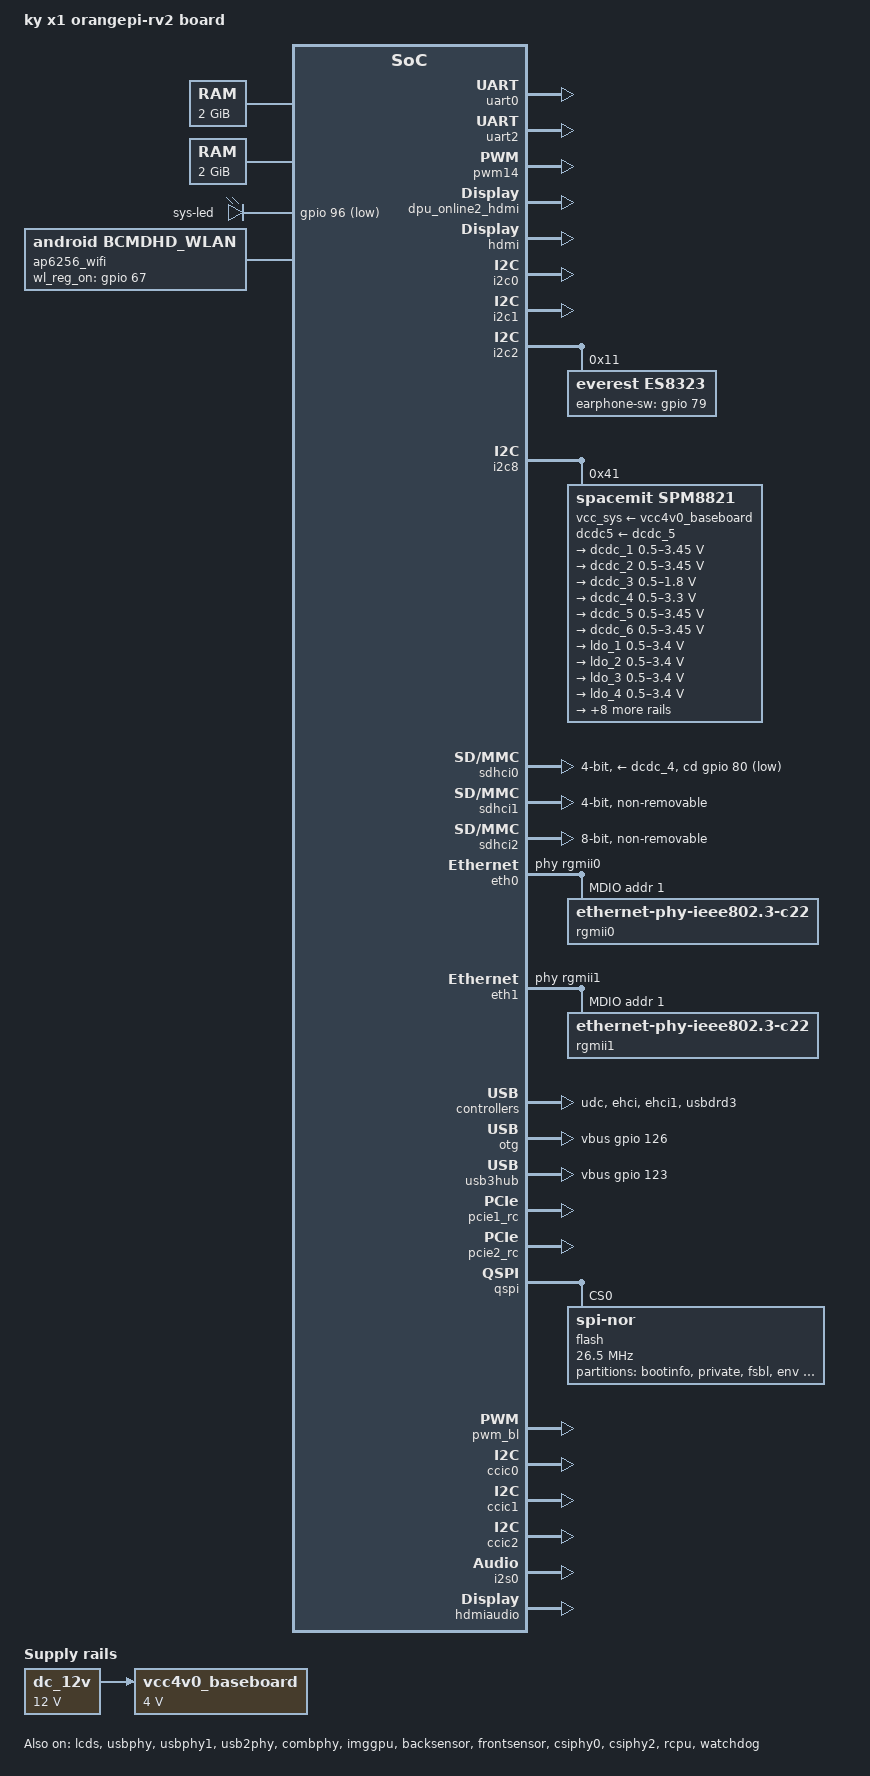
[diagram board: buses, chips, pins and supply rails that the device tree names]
// SPDX-License-Identifier: (GPL-2.0 OR MIT)
/* Copyright (c) 2023 Ky, Inc */

/dts-v1/;

#include "k1-x.dtsi"
#include "k1-x-efuse.dtsi"
#include "k1-x_pinctrl.dtsi"
#include "lcd/lcd_ili9881c_mipi.dtsi"
#include "k1-x-hdmi.dtsi"
#include "k1-x-lcd.dtsi"
#include "k1-x-camera-sdk.dtsi"
#include "k1-x_opp_table.dtsi"
#include "k1-x_thermal_cooling.dtsi"

/ {
	model = "ky x1 orangepi-rv2 board";
	compatible = "spacemit,orangepi-rv2", "spacemit,k1-x";

	cpus: cpus {
		#address-cells = <1>;
		#size-cells = <0>;
		timebase-frequency = <24000000>;

		cpu_0: cpu@0 {
			cpu-ai = "true";
		};

		cpu_1: cpu@1 {
			cpu-ai = "true";
		};

		cpu_2: cpu@2 {
			reg = <2>;
			cpu-ai = "true";
		};

		cpu_3: cpu@3 {
			reg = <3>;
			cpu-ai = "true";
		};

		cpu-map {
			cluster0 {
				core0 {
					cpu = <&cpu_0>;
				};

				core1 {
					cpu = <&cpu_1>;
				};

				core2 {
					cpu = <&cpu_2>;
				};

				core3 {
					cpu = <&cpu_3>;
				};
			};

			cluster1 {
				core0 {
					cpu = <&cpu_4>;
				};

				core1 {
					cpu = <&cpu_5>;
				};

				core2 {
					cpu = <&cpu_6>;
				};

				core3 {
					cpu = <&cpu_7>;
				};
			};
		};
	};

	memory@0 {
		device_type = "memory";
		reg = <0x0 0x00000000 0x0 0x80000000>;
	};

	memory@100000000 {
		device_type = "memory";
		reg = <0x1 0x00000000 0x0 0x80000000>;
	};

	reserved-memory {
		#address-cells = <2>;
		#size-cells = <2>;
		ranges;

		linux,cma {
			compatible = "shared-dma-pool";
			/* alloc memory from 0x40000000~0x80000000 */
			alloc-ranges = <0 0x40000000 0 0x30000000>;
			/* size of cma buffer is 384MByte */
			size = <0 0x18000000>;
			/* start address is 1Mbyte aligned */
			alignment = <0x0 0x100000>;
			linux,cma-default;
			/* besides hardware, dma for ex. buffer can be used by memory management */
			reusable;
		};

		/* reserved 384K for dpu, including mmu table(256K) and cmdlist(128K) */
		dpu_resv: dpu_reserved@2ff40000 {
			compatible = "shared-dma-pool";
			reg = <0x0 0x2ff40000 0x0 0x000C0000>;
			no-map;
		};
	};

	chosen {
		bootargs = "earlycon=sbi console=ttyS0,115200n8 loglevel=8 swiotlb=65536 rdinit=/init";
		stdout-path = "serial0:115200n8";
	};

	dc_12v: dc-12v {
		compatible = "regulator-fixed";
		regulator-name = "dc_12v";
		regulator-always-on;
		regulator-boot-on;
		regulator-min-microvolt = <12000000>;
		regulator-max-microvolt = <12000000>;
	};

	vcc4v0_baseboard: vcc4v0-baseboard {
		compatible = "regulator-fixed";
		regulator-name = "vcc4v0_baseboard";
		regulator-always-on;
		regulator-boot-on;
		regulator-min-microvolt = <4000000>;
		regulator-max-microvolt = <4000000>;
		vin-supply = <&dc_12v>;
	};

	rf_pwrseq: rf-pwrseq {
		compatible = "spacemit,rf-pwrseq";
		//vdd-supply = <&ldo_7>;
		//vdd_voltage = <3300000>;
		io-supply = <&dcdc_3>;
		io_voltage = <1800000>;
		//pwr-gpios  = <&gpio 67 0>;
		status = "okay";

		wlan_pwrseq: wlan-pwrseq {
			compatible = "spacemit,wlan-pwrseq";
			interrupt-parent = <&gpio>;
			interrupts = <66 1>;
			regon-gpios = <&gpio 67 GPIO_ACTIVE_HIGH>;
			hostwake-gpios = <&gpio 66 GPIO_ACTIVE_HIGH>;
		};

		bt_pwrseq: bt-pwrseq {
			compatible = "spacemit,bt-pwrseq";
			reset-gpios     = <&gpio 63 0>;
		};
	};

	leds {
		compatible = "gpio-leds";

		led1 {
			label = "sys-led";
			gpios = <&gpio 96 1>;
			linux,default-trigger = "heartbeat";
			default-state = "on";
			status = "okay";
		};
	};

	/* vcc3v3_pcie: vcc3v3-pcie-regulator { */
	/* 	compatible = "regulator-fixed"; */
	/* 	regulator-name = "vcc3v3_pcie"; */
	/* 	regulator-always-on; */
	/* 	regulator-boot-on; */
	/* 	enable-active-high; */
	/* 	gpio = <&gpio 116 0>; */
	/* 	regulator-min-microvolt = <3300000>; */
	/* 	regulator-max-microvolt = <3300000>; */
	/* 	vin-supply = <&dc_12v>; */
        /* }; */

	ap6256_wifi: ap6256_wifi {
		compatible = "android,bcmdhd_wlan";
		gpio_wl_reg_on = <&gpio 67 GPIO_ACTIVE_HIGH>;
	};
};

&uart0 {
	pinctrl-names = "default";
	pinctrl-0 = <&pinctrl_uart0_2>;
	status = "okay";
};

&uart2 {
	pinctrl-names = "default";
	pinctrl-0 = <&pinctrl_uart2>;
	status = "okay";
};

&pwm14 {
	pinctrl-names = "default";
	pinctrl-0 = <&pinctrl_pwm14_1>;
	status = "okay";
};

&dpu_online2_dsi {
	memory-region = <&dpu_resv>;
	spacemit-dpu-bitclk = <500000000>;
	/* spacemit-dpu-escclk = <76800000>; */
	dsi_1v2-supply = <&ldo_5>;
	vin-supply-names = "dsi_1v2";
	status = "disabled";
};

&dsi2 {
	status = "disabled";

	panel2: panel2@0 {
		status = "okay";
		compatible = "spacemit,mipi-panel2";
		reg = <0>;

		gpios-reset = <81>;
		gpios-dc = <82 83>;
		id = <2>;
		delay-after-reset = <10>;
		force-attached = "lcd_ili9881c_mipi";
	};
};

&lcds {
	status = "okay";
};

&dpu_online2_hdmi {
	memory-region = <&dpu_resv>;
	status = "okay";
};

&hdmi{
	pinctrl-names = "default";
	pinctrl-0 = <&pinctrl_hdmi_0>;
	status = "okay";
};

&i2c0 {
	pinctrl-names = "default";
	pinctrl-0 = <&pinctrl_i2c0>;
	spacemit,i2c-fast-mode;
	status = "okay";
};

&i2c1 {
	pinctrl-names = "default";
	pinctrl-0 = <&pinctrl_i2c1>;
	spacemit,i2c-fast-mode;
	status = "okay";
};

&i2c2 {
	pinctrl-names = "default";
	pinctrl-0 = <&pinctrl_i2c2_0>;
	spacemit,i2c-fast-mode;
	status = "okay";

	eeprom@50{
		compatible = "atmel,24c02";
		reg = <0x50>;
		#address-cells = <1>;
		#size-cells = <1>;

		power-domains = <&power K1X_PMU_DUMMY_PWR_DOMAIN>;
		status = "disabled";

		mac_address0: mac_address0@0 {
			reg = <0x0 6>;
		};

		mac_address1: mac_address1@6 {
			reg = <0x6 6>;
		};
	};

	es8323: es8323@11 {
		status = "okay";
		#sound-dai-cells = <0>;
		compatible = "everest,es8323";
		reg = <0x11>;
		earphone-sw-gpio = <&gpio 79 0>;
        };

	touchscreen: touchscreen@14 {
		compatible = "goodix,gt9271";
		reg = <0x14>;
		interrupt-parent = <&gpio>;
		interrupts = <46 1>; /* PE12 */
		irq-gpios = <&gpio 46 GPIO_ACTIVE_HIGH>; /* PE12 */
		reset-gpios = <&gpio 45 GPIO_ACTIVE_HIGH>; /* PE11 */
		pinctrl-names = "default";
		pinctrl-0 = <&pinctrl_touch_gpio>;
		touchscreen-inverted-x;
		//touchscreen-inverted-y;
		touchscreen-swapped-x-y;
		touchscreen-size-x = <1280>;
		touchscreen-size-y = <800>;
		status = "disabled";
	};
};

&i2c3 {
	pinctrl-names = "default";
	pinctrl-0 = <&pinctrl_i2c3_1>;
	status = "disabled";
};

&i2c4 {
	pinctrl-names = "default";
	pinctrl-0 = <&pinctrl_i2c4_2>;
	status = "disabled";
};

&i2c6 {
	pinctrl-names = "default";
	pinctrl-0 = <&pinctrl_i2c6_2>;
	status = "disabled";

	gt9xx@5d {
		compatible = "goodix,gt9xx";
		reg = <0x5d>;

		reset-gpios = <&gpio 114 GPIO_ACTIVE_HIGH>;
		irq-gpios = <&gpio 58 GPIO_ACTIVE_HIGH>;
		irq-flags = <2>;

		touchscreen-max-id = <11>;
		touchscreen-size-x = <1200>;
		touchscreen-size-y = <1920>;
		touchscreen-max-w = <512>;
		touchscreen-max-p = <512>;

		goodix,int-sync = <1>;
		status = "disabled";
	};

};

&i2c7 {
	pinctrl-names = "default";
	pinctrl-0 = <&pinctrl_i2c7>;
	status = "disabled";
};

&i2c8 {
	pinctrl-names = "default";
	pinctrl-0 = <&pinctrl_i2c8>;
	status = "okay";

	spm8821@41 {
		compatible = "spacemit,spm8821";
		reg = <0x41>;
		interrupt-parent = <&intc>;
		interrupts = <64>;
		status = "okay";

		vcc_sys-supply = <&vcc4v0_baseboard>;
		dcdc5-supply = <&dcdc_5>;

		regulators {
			compatible = "pmic,regulator,spm8821";

			/* buck */
			dcdc_1: DCDC_REG1 {
				regulator-name = "dcdc1";
				regulator-min-microvolt = <500000>;
				regulator-max-microvolt = <3450000>;
				regulator-ramp-delay = <5000>;
				regulator-always-on;

				regulator-state-mem {
					regulator-off-in-suspend;
					regulator-suspend-microvolt = <650000>;
				};
			};

			dcdc_2: DCDC_REG2 {
				regulator-name = "dcdc2";
				regulator-min-microvolt = <500000>;
				regulator-max-microvolt = <3450000>;
				regulator-ramp-delay = <5000>;
				regulator-always-on;
			};

			dcdc_3: DCDC_REG3 {
				regulator-name = "dcdc3";
				regulator-min-microvolt = <500000>;
				regulator-max-microvolt = <1800000>;
				regulator-ramp-delay = <5000>;
				regulator-always-on;
			};

			dcdc_4: DCDC_REG4 {
				regulator-name = "dcdc4";
				regulator-min-microvolt = <500000>;
				regulator-max-microvolt = <3300000>;
				regulator-ramp-delay = <5000>;
				regulator-always-on;

				regulator-state-mem {
					regulator-off-in-suspend;
					regulator-suspend-microvolt = <3300000>;
				};
			};

			dcdc_5: DCDC_REG5 {
				regulator-name = "dcdc5";
				regulator-min-microvolt = <500000>;
				regulator-max-microvolt = <3450000>;
				regulator-ramp-delay = <5000>;
				regulator-always-on;
			};

			dcdc_6: DCDC_REG6 {
				regulator-name = "dcdc6";
				regulator-min-microvolt = <500000>;
				regulator-max-microvolt = <3450000>;
				regulator-ramp-delay = <5000>;
				regulator-always-on;
			};

			/* aldo */
			ldo_1: LDO_REG1 {
				regulator-name = "ldo1";
				regulator-min-microvolt = <500000>;
				regulator-max-microvolt = <3400000>;
				regulator-boot-on;

				/* set the min voltage means will disable this vol in suspend for ldo */
				regulator-state-mem {
					regulator-off-in-suspend;
					regulator-suspend-microvolt = <500000>;
				};
			};

			ldo_2: LDO_REG2 {
				regulator-name = "ldo2";
				regulator-min-microvolt = <500000>;
				regulator-max-microvolt = <3400000>;

				regulator-state-mem {
					regulator-off-in-suspend;
					regulator-suspend-microvolt = <500000>;
				};
			};

			ldo_3: LDO_REG3 {
				regulator-name = "ldo3";
				regulator-min-microvolt = <500000>;
				regulator-max-microvolt = <3400000>;

				regulator-state-mem {
					regulator-off-in-suspend;
					regulator-suspend-microvolt = <500000>;
				};
			};

			ldo_4: LDO_REG4 {
				regulator-name = "ldo4";
				regulator-min-microvolt = <500000>;
				regulator-max-microvolt = <3400000>;

				regulator-state-mem {
					regulator-off-in-suspend;
					regulator-suspend-microvolt = <500000>;
				};
			};

			/* dldo */
			ldo_5: LDO_REG5 {
				regulator-name = "ldo5";
				regulator-min-microvolt = <500000>;
				regulator-max-microvolt = <3400000>;
				regulator-boot-on;

				regulator-state-mem {
					regulator-off-in-suspend;
					regulator-suspend-microvolt = <500000>;
				};
			};

			ldo_6: LDO_REG6 {
				regulator-name = "ldo6";
				regulator-min-microvolt = <500000>;
				regulator-max-microvolt = <3400000>;

				regulator-state-mem {
					regulator-off-in-suspend;
					regulator-suspend-microvolt = <500000>;
				};
			};

			ldo_7: LDO_REG7 {
				regulator-name = "ldo7";
				regulator-min-microvolt = <500000>;
				regulator-max-microvolt = <3400000>;

				regulator-state-mem {
					regulator-off-in-suspend;
					regulator-suspend-microvolt = <500000>;
				};
			};

			ldo_8: LDO_REG8 {
				regulator-name = "ldo8";
				regulator-min-microvolt = <500000>;
				regulator-max-microvolt = <3400000>;
				regulator-always-on;
			};

			ldo_9: LDO_REG9 {
				regulator-name = "ldo9";
				regulator-min-microvolt = <500000>;
				regulator-max-microvolt = <3400000>;
			};

			ldo_10: LDO_REG10 {
				regulator-name = "ldo10";
				regulator-min-microvolt = <500000>;
				regulator-max-microvolt = <3400000>;
				regulator-always-on;
			};

			ldo_11: LDO_REG11 {
				regulator-name = "ldo11";
				regulator-min-microvolt = <500000>;
				regulator-max-microvolt = <3400000>;
			};

			sw_1: SWITCH_REG1 {
				regulator-boot-on;
				regulator-always-on;
				regulator-name = "switch1";
				regulator-state-mem {
					regulator-off-in-suspend;
				};
			};
		};

		pmic_pinctrl: pinctrl {
			compatible = "pmic,pinctrl,spm8821";
			gpio-controller;
			#gpio-cells = <2>;
			spacemit,npins = <6>;
/**
 *			led_pins: led-pins {
 *				pins = "PIN3";
 *				function = "sleep";
 *				bias-disable = <0>;
 *				drive-open-drain = <0x1>;
 *			};
 */
		};

		pwr_key: key {
			compatible = "pmic,pwrkey,spm8821";
		};

		ext_rtc: rtc {
			compatible = "pmic,rtc,spm8821";
		};

		ext_adc: adc {
			compatible = "pmic,adc,spm8821";
		};
	};
};

&pinctrl {
	pinctrl-single,gpio-range = <
		&range GPIO_49  2 (MUX_MODE0 | EDGE_NONE | PULL_UP   | PAD_3V_DS4)
		&range GPIO_58  1 (MUX_MODE0 | EDGE_NONE | PULL_UP   | PAD_1V8_DS2)
		&range GPIO_63  1 (MUX_MODE0 | EDGE_NONE | PULL_UP   | PAD_1V8_DS2)
		&range GPIO_64  1 (MUX_MODE1 | EDGE_NONE | PULL_UP   | PAD_1V8_DS2)
		&range GPIO_65  1 (MUX_MODE0 | EDGE_NONE | PULL_UP   | PAD_1V8_DS2)
		&range GPIO_67  1 (MUX_MODE0 | EDGE_NONE | PULL_UP   | PAD_3V_DS4)
		&range PRI_TDI  2 (MUX_MODE1 | EDGE_NONE | PULL_UP   | PAD_1V8_DS2)
		&range PRI_TCK  1 (MUX_MODE1 | EDGE_NONE | PULL_DOWN | PAD_1V8_DS2)
		&range PRI_TDO  1 (MUX_MODE1 | EDGE_NONE | PULL_UP   | PAD_1V8_DS2)
		/*&range GPIO_74  1 (MUX_MODE0 | EDGE_NONE | PULL_UP   | PAD_1V8_DS2) */
		&range GPIO_79  1 (MUX_MODE0 | EDGE_NONE | PULL_UP   | PAD_1V8_DS2)
		&range GPIO_80  1 (MUX_MODE0 | EDGE_NONE | PULL_UP   | PAD_3V_DS4)
		&range GPIO_81  3 (MUX_MODE0 | EDGE_NONE | PULL_UP   | PAD_1V8_DS2)
		&range GPIO_90  1 (MUX_MODE0 | EDGE_NONE | PULL_DOWN | PAD_1V8_DS2)
		&range GPIO_91  2 (MUX_MODE0 | EDGE_NONE | PULL_UP   | PAD_1V8_DS2)
		&range DVL0     1 (MUX_MODE1 | EDGE_NONE | PULL_DOWN | PAD_1V8_DS2)
		&range DVL1     1 (MUX_MODE1 | EDGE_NONE | PULL_DOWN | PAD_1V8_DS0)
		&range GPIO_110 1 (MUX_MODE0 | EDGE_NONE | PULL_DOWN | PAD_1V8_DS2)
		&range GPIO_111 1 (MUX_MODE0 | EDGE_NONE | PULL_DOWN | PAD_1V8_DS2)
		&range GPIO_113 1 (MUX_MODE0 | EDGE_NONE | PULL_DOWN | PAD_1V8_DS2)
		&range GPIO_114 1 (MUX_MODE0 | EDGE_NONE | PULL_DOWN | PAD_1V8_DS2)
		&range GPIO_115 1 (MUX_MODE0 | EDGE_NONE | PULL_DOWN | PAD_1V8_DS2)
		&range GPIO_116 1 (MUX_MODE0 | EDGE_NONE | PULL_UP   | PAD_1V8_DS2)
		&range GPIO_118 1 (MUX_MODE0 | EDGE_NONE | PULL_UP   | PAD_1V8_DS2)
		&range GPIO_123 1 (MUX_MODE0 | EDGE_NONE | PULL_DOWN | PAD_1V8_DS0)
		&range GPIO_124 1 (MUX_MODE0 | EDGE_NONE | PULL_UP   | PAD_1V8_DS2)
		&range GPIO_125 3 (MUX_MODE0 | EDGE_NONE | PULL_DOWN | PAD_1V8_DS2)
	>;

	/* pinctrl_rcpu: pinctrl_rcpu_grp { */
	/* 	pinctrl-single,pins = < */
	/* 		K1X_PADCONF(GPIO_47, MUX_MODE1, (EDGE_NONE | PULL_UP | PAD_3V_DS4))	/1* r_uart0_tx *1/ */
	/* 		K1X_PADCONF(GPIO_48, MUX_MODE1, (EDGE_NONE | PULL_UP | PAD_3V_DS4))	/1* r_uart0_rx *1/ */
	/* 	>; */
	/* }; */

	pinctrl_gmac0: gmac0_grp {
		pinctrl-single,pins =<
			K1X_PADCONF(GPIO_00, MUX_MODE1, (EDGE_NONE | PULL_DIS | PAD_1V8_DS2))	/* gmac0_rxdv */
			K1X_PADCONF(GPIO_01, MUX_MODE1, (EDGE_NONE | PULL_DIS | PAD_1V8_DS2))	/* gmac0_rx_d0 */
			K1X_PADCONF(GPIO_02, MUX_MODE1, (EDGE_NONE | PULL_DIS | PAD_1V8_DS2))	/* gmac0_rx_d1 */
			K1X_PADCONF(GPIO_03, MUX_MODE1, (EDGE_NONE | PULL_DIS | PAD_1V8_DS2))	/* gmac0_rx_clk */
			K1X_PADCONF(GPIO_04, MUX_MODE1, (EDGE_NONE | PULL_DIS | PAD_1V8_DS2))	/* gmac0_rx_d2 */
			K1X_PADCONF(GPIO_05, MUX_MODE1, (EDGE_NONE | PULL_DIS | PAD_1V8_DS2))	/* gmac0_rx_d3 */
			K1X_PADCONF(GPIO_06, MUX_MODE1, (EDGE_NONE | PULL_DIS | PAD_1V8_DS2))	/* gmac0_tx_d0 */
			K1X_PADCONF(GPIO_07, MUX_MODE1, (EDGE_NONE | PULL_DIS | PAD_1V8_DS2))	/* gmac0_tx_d1 */
			K1X_PADCONF(GPIO_08, MUX_MODE1, (EDGE_NONE | PULL_DIS | PAD_1V8_DS2))	/* gmac0_tx */
			K1X_PADCONF(GPIO_09, MUX_MODE1, (EDGE_NONE | PULL_DIS | PAD_1V8_DS2))	/* gmac0_tx_d2 */
			K1X_PADCONF(GPIO_10, MUX_MODE1, (EDGE_NONE | PULL_DIS | PAD_1V8_DS2))	/* gmac0_tx_d3 */
			K1X_PADCONF(GPIO_11, MUX_MODE1, (EDGE_NONE | PULL_DIS | PAD_1V8_DS2))	/* gmac0_tx_en */
			K1X_PADCONF(GPIO_12, MUX_MODE1, (EDGE_NONE | PULL_DIS | PAD_1V8_DS0))	/* gmac0_mdc */
			K1X_PADCONF(GPIO_13, MUX_MODE1, (EDGE_NONE | PULL_DIS | PAD_1V8_DS0))	/* gmac0_mdio */
			K1X_PADCONF(GPIO_14, MUX_MODE1, (EDGE_NONE | PULL_DIS | PAD_1V8_DS2))	/* gmac0_int_n */
		>;
	};

	pinctrl_gmac1: gmac1_grp {
		pinctrl-single,pins =<
			K1X_PADCONF(GPIO_29, MUX_MODE1, (EDGE_NONE | PULL_DIS | PAD_1V8_DS2))	/* gmac1_rxdv */
			K1X_PADCONF(GPIO_30, MUX_MODE1, (EDGE_NONE | PULL_DIS | PAD_1V8_DS2))	/* gmac1_rx_d0 */
			K1X_PADCONF(GPIO_31, MUX_MODE1, (EDGE_NONE | PULL_DIS | PAD_1V8_DS2))	/* gmac1_rx_d1 */
			K1X_PADCONF(GPIO_32, MUX_MODE1, (EDGE_NONE | PULL_DIS | PAD_1V8_DS2))	/* gmac1_rx_clk */
			K1X_PADCONF(GPIO_33, MUX_MODE1, (EDGE_NONE | PULL_DIS | PAD_1V8_DS2))	/* gmac1_rx_d2 */
			K1X_PADCONF(GPIO_34, MUX_MODE1, (EDGE_NONE | PULL_DIS | PAD_1V8_DS2))	/* gmac1_rx_d3 */
			K1X_PADCONF(GPIO_35, MUX_MODE1, (EDGE_NONE | PULL_DIS | PAD_1V8_DS0))	/* gmac1_tx_d0 */
			K1X_PADCONF(GPIO_36, MUX_MODE1, (EDGE_NONE | PULL_DIS | PAD_1V8_DS0))	/* gmac1_tx_d1 */
			K1X_PADCONF(GPIO_37, MUX_MODE1, (EDGE_NONE | PULL_DIS | PAD_1V8_DS2))	/* gmac1_tx */
			K1X_PADCONF(GPIO_38, MUX_MODE1, (EDGE_NONE | PULL_DIS | PAD_1V8_DS0))	/* gmac1_tx_d2 */
			K1X_PADCONF(GPIO_39, MUX_MODE1, (EDGE_NONE | PULL_DIS | PAD_1V8_DS0))	/* gmac1_tx_d3 */
			K1X_PADCONF(GPIO_40, MUX_MODE1, (EDGE_NONE | PULL_DIS | PAD_1V8_DS0))	/* gmac1_tx_en */
			K1X_PADCONF(GPIO_41, MUX_MODE1, (EDGE_NONE | PULL_DIS | PAD_1V8_DS0))	/* gmac1_mdc */
			K1X_PADCONF(GPIO_42, MUX_MODE1, (EDGE_NONE | PULL_DIS | PAD_1V8_DS0))	/* gmac1_mdio */
			K1X_PADCONF(GPIO_43, MUX_MODE1, (EDGE_NONE | PULL_DIS | PAD_1V8_DS2))	/* gmac1_int_n */
		>;
	};

	pinctrl_touch_gpio: touch_gpio {
		pinctrl-single,pins =<
			K1X_PADCONF(GPIO_45, MUX_MODE0, (EDGE_NONE | PULL_UP | PAD_1V8_DS0))
			K1X_PADCONF(GPIO_46, MUX_MODE0, (EDGE_NONE | PULL_UP | PAD_1V8_DS0))
		>;
	};

	pinctrl_wlan_wakeup: wlan_wakeup_grp {
		pinctrl-single,pins =<
			K1X_PADCONF(GPIO_66, MUX_MODE0, (EDGE_FALL | PULL_DOWN | PAD_3V_DS2))   /* wifi edge detect */
		>;
	};

	pinctrl_uart5_4: uart5_4_grp {
		pinctrl-single,pins =<
			K1X_PADCONF(PRI_TDI, MUX_MODE4, (EDGE_NONE | PULL_UP | PAD_1V8_DS2))	/* uart5_txd */
			K1X_PADCONF(PRI_TMS, MUX_MODE4, (EDGE_NONE | PULL_UP | PAD_1V8_DS2))	/* uart5_rxd */
		>;
	};

	pinctrl_uart8_3: uart8_3_grp {
		pinctrl-single,pins =<
			K1X_PADCONF(GPIO_75, MUX_MODE4, (EDGE_NONE | PULL_UP | PAD_3V_DS4))	/* uart8_txd */
			K1X_PADCONF(GPIO_76, MUX_MODE4, (EDGE_NONE | PULL_UP | PAD_3V_DS4))	/* uart8_rxd */
		>;
	};
};

&gpio{
	gpio-ranges = <
		&pinctrl 49  GPIO_49  2
		&pinctrl 58  GPIO_58  1
		&pinctrl 63  GPIO_63  1
		/*&pinctrl 65  GPIO_65  1 */
		&pinctrl 67  GPIO_67  1
		&pinctrl 70  PRI_TDI  4
		/*&pinctrl 74  GPIO_74  1*/
		&pinctrl 79  GPIO_79  1
		&pinctrl 80  GPIO_80  4
		&pinctrl 90  GPIO_90  3
		&pinctrl 96  DVL0     2
		&pinctrl 110 GPIO_110 1
		&pinctrl 111 GPIO_111 1
		&pinctrl 113 GPIO_113 1
		&pinctrl 114 GPIO_114 3
		&pinctrl 118 GPIO_118 1
		&pinctrl 123 GPIO_123 5
	>;
};

/* SD */
&sdhci0 {
	pinctrl-names = "default","fast";
	pinctrl-0 = <&pinctrl_mmc1>;
	pinctrl-1 = <&pinctrl_mmc1_fast>;
	bus-width = <4>;
	cd-gpios = <&gpio 80 0>;
	cd-inverted;
	vmmc-supply = <&dcdc_4>;
	vqmmc-supply = <&ldo_1>;
	no-mmc;
	no-sdio;
	spacemit,sdh-host-caps-disable = <(
			MMC_CAP_UHS_SDR12 |
			MMC_CAP_UHS_SDR25
			)>;
	spacemit,sdh-quirks = <(
			SDHCI_QUIRK_BROKEN_CARD_DETECTION |
			SDHCI_QUIRK_INVERTED_WRITE_PROTECT |
			SDHCI_QUIRK_BROKEN_TIMEOUT_VAL
			)>;
	spacemit,sdh-quirks2 = <(
			SDHCI_QUIRK2_PRESET_VALUE_BROKEN |
			SDHCI_QUIRK2_BROKEN_PHY_MODULE |
			SDHCI_QUIRK2_SET_AIB_MMC
			)>;
	spacemit,aib_mmc1_io_reg = <0xD401E81C>;
	spacemit,apbc_asfar_reg = <0xD4015050>;
	spacemit,apbc_assar_reg = <0xD4015054>;
	spacemit,rx_dline_reg = <0x0>;
	spacemit,tx_dline_reg = <0x0>;
	spacemit,tx_delaycode = <0x9f>;
	spacemit,rx_tuning_limit = <50>;
	spacemit,sdh-freq = <204800000>;
	status = "okay";
};

/* SDIO */
&sdhci1 {
	pinctrl-names = "default";
	pinctrl-0 = <&pinctrl_mmc2>;
	bus-width = <4>;
	non-removable;
	vqmmc-supply = <&dcdc_3>;
	no-mmc;
	no-sd;
	keep-power-in-suspend;
	/* bcmdhd use private oob solution rather than dat1/standard wakeup */
	/delete-property/ enable-sdio-wakeup;
	spacemit,sdh-host-caps-disable = <(
			MMC_CAP_UHS_DDR50 |
			MMC_CAP_NEEDS_POLL
			)>;
	spacemit,sdh-quirks = <(
			SDHCI_QUIRK_BROKEN_CARD_DETECTION |
			SDHCI_QUIRK_BROKEN_TIMEOUT_VAL
			)>;
	spacemit,sdh-quirks2 = <(
			SDHCI_QUIRK2_PRESET_VALUE_BROKEN |
			SDHCI_QUIRK2_BROKEN_PHY_MODULE
			)>;
	spacemit,rx_dline_reg = <0x0>;
	spacemit,tx_delaycode = <0x9f>;
	spacemit,rx_tuning_limit = <50>;
	spacemit,sdh-freq = <375000000>;
	status = "okay";
};

/* eMMC */
&sdhci2 {
	bus-width = <8>;
	non-removable;
	mmc-hs400-1_8v;
	mmc-hs400-enhanced-strobe;
	no-sd;
	no-sdio;
	spacemit,sdh-quirks = <(
			SDHCI_QUIRK_BROKEN_CARD_DETECTION |
			SDHCI_QUIRK_BROKEN_TIMEOUT_VAL
			)>;
	spacemit,sdh-quirks2 = <(
			SDHCI_QUIRK2_PRESET_VALUE_BROKEN
			)>;
	spacemit,sdh-freq = <375000000>;
	status = "okay";
};

&eth0 {
	pinctrl-names = "default";
	pinctrl-0 = <&pinctrl_gmac0>;

	emac,reset-gpio = <&gpio 110 0>;
	emac,reset-active-low;
	emac,reset-delays-us = <0 10000 100000>;

	/* store forward mode */
	tx-threshold = <1518>;
	rx-threshold = <12>;
	tx-ring-num = <1024>;
	rx-ring-num = <1024>;
	dma-burst-len = <5>;

	ref-clock-from-phy;

	clk-tuning-enable;
	clk-tuning-by-delayline;
	tx-phase = <60>;
	rx-phase = <73>;

	nvmem-cells = <&mac_address0>;
	nvmem-cell-names = "mac-address";

	phy-handle = <&rgmii0>;

	status = "okay";

	mdio-bus {
		#address-cells = <0x1>;
		#size-cells = <0x0>;
		rgmii0: phy@1 {
			compatible = "ethernet-phy-ieee802.3-c22";
			device_type = "ethernet-phy";
			reg = <0x1>;
			phy-mode = "rgmii";
		};
	};
};

&eth1 {
	pinctrl-names = "default";
	pinctrl-0 = <&pinctrl_gmac1>;

	emac,reset-gpio = <&gpio 115 0>;
	emac,reset-active-low;
	emac,reset-delays-us = <0 10000 100000>;

        /* store forward mode */
	tx-threshold = <1518>;
	rx-threshold = <12>;
	tx-ring-num = <1024>;
	rx-ring-num = <1024>;
	dma-burst-len = <5>;

	ref-clock-from-phy;

	clk-tuning-enable;
	clk-tuning-by-delayline;
	tx-phase = <90>;
	rx-phase = <73>;
	nvmem-cells = <&mac_address1>;
	nvmem-cell-names = "mac-address";

	phy-handle = <&rgmii1>;

	status = "okay";

	mdio-bus {
		#address-cells = <0x1>;
		#size-cells = <0x0>;
		rgmii1: phy@1 {
			compatible = "ethernet-phy-ieee802.3-c22";
			device_type = "ethernet-phy";
			reg = <0x1>;
			phy-mode = "rgmii";
		};
	};
};

&usbphy {
	status = "okay";
};

&udc {
	spacemit,udc-mode = <MV_USB_MODE_OTG>;
	status = "okay";
};

&ehci {
	spacemit,udc-mode = <MV_USB_MODE_OTG>;
	spacemit,reset-on-resume;
	status = "okay";
};
&otg {
	usb-role-switch;
	role-switch-user-control;
	spacemit,reset-on-resume;
	role-switch-default-mode = "host";
	vbus-gpios = <&gpio 126 0>;
	status = "okay";
};


&usbphy1 {
	status = "okay";
};

&udc1 {
	spacemit,udc-mode = <MV_USB_MODE_UDC>;
	status = "disabled";
};

&ehci1 {
	spacemit,udc-mode = <MV_USB_MODE_HOST>;
	spacemit,reset-on-resume;
	status = "okay";
};

&otg1 {
	usb-role-switch;
	role-switch-user-control;
	spacemit,reset-on-resume;
	role-switch-default-mode = "host";
	vbus-gpios = <&gpio 123 0>;
	status = "disabled";
};

&usb2phy {
	status = "okay";
};

&combphy {
	status = "okay";
};

&usb3hub {
	vbus-gpios = <&gpio 123 0>;	/* gpio_123 for usb3 hub pwr and output vbus */
	status = "okay";
};

&usbdrd3 {
	status = "okay";
	reset-on-resume;
	dwc3@c0a00000 {
		dr_mode = "otg";
		phy_type = "utmi";
		snps,hsphy_interface = "utmi";
		snps,dis_enblslpm_quirk;
		snps,dis_u2_susphy_quirk;
		snps,dis_u3_susphy_quirk;
		snps,dis-del-phy-power-chg-quirk;
		snps,dis-tx-ipgap-linecheck-quirk;
		snps,parkmode-disable-ss-quirk;
		usb-role-switch;
		role-switch-default-mode = "host";
	};
};

&pcie1_rc {
	pinctrl-names = "default";
	pinctrl-0 = <&pinctrl_pcie1_3>;
	k1x,pwr_on = <&gpio 116 0>;
	status = "okay";
};

&pcie2_rc {
	pinctrl-names = "default";
	pinctrl-0 = <&pinctrl_pcie2_4>;
	status = "okay";
};

&imggpu {
	status = "okay";
};

&qspi {
	pinctrl-names = "default";
	pinctrl-0 = <&pinctrl_qspi>;
	status = "okay";

	flash@0 {
		compatible = "jedec,spi-nor";
		reg = <0>;
		spi-max-frequency = <26500000>;
		m25p,fast-read;
		broken-flash-reset;
		status = "okay";

		partitions {
			compatible = "fixed-partitions";
			#address-cells = <1>;
			#size-cells = <1>;

			partition@00000 {
				label = "bootinfo";
				reg = <0x00000 0x10000>;
			};

			partition@10000 {
				label = "private";
				reg = <0x10000 0x10000>;
			};

			partition@20000 {
				label = "fsbl";
				reg = <0x20000 0x40000>;
			};

			partition@60000 {
				label = "env";
				reg = <0x60000 0x10000>;
			};

			partition@70000 {
				label = "opensbi";
				reg = <0x70000 0x30000>;
			};

			partition@a0000 {
				label = "uboot";
				reg = <0xa0000 0xf60000>;
			};
		};
	};
};

&spi3 {
	pinctrl-names = "default";
	pinctrl-0 = <&pinctrl_ssp3_0>;
	status = "disabled";
};

&pwm_bl {
	pwms = <&pwm14 2000>;
	brightness-levels = <
		0   40  40  40  40  40  40  40  40  40  40  40  40  40  40  40
		40  40  40  40  40  40  40  40  40  40  40  40  40  40  40  40
		40  40  40  40  40  40  40  40  40  41  42  43  44  45  46  47
		48  49  50  51  52  53  54  55  56  57  58  59  60  61  62  63
		64  65  66  67  68  69  70  71  72  73  74  75  76  77  78  79
		80  81  82  83  84  85  86  87  88  89  90  91  92  93  94  95
		96  97  98  99  100 101 102 103 104 105 106 107 108 109 110 111
		112 113 114 115 116 117 118 119 120 121 122 123 124 125 126 127
		128 129 130 131 132 133 134 135 136 137 138 139 140 141 142 143
		144 145 146 147 148 149 150 151 152 153 154 155 156 157 158 159
		160 161 162 163 164 165 166 167 168 169 170 171 172 173 174 175
		176 177 178 179 180 181 182 183 184 185 186 187 188 189 190 191
		192 193 194 195 196 197 198 199 200 201 202 203 204 205 206 207
		208 209 210 211 212 213 214 215 216 217 218 219 220 221 222 223
		224 225 226 227 228 229 230 231 232 233 234 235 236 237 238 239
		240 241 242 243 244 245 246 247 248 249 250 251 252 253 254 255
	>;
	default-brightness-level = <200>;

	status = "okay";
};

/* MIPI CSI1, clk lane1 */
&backsensor {
	//af_2v8-supply = <&ldo_3>;
	//avdd_2v8-supply = <&ldo_2>;
	//dovdd_1v8-supply = <&ldo_7>;
	//dvdd_1v2-supply = <&ldo_6>;

	pwdn-gpios = <&gpio 113 0>;
	reset-gpios = <&gpio 111 0>;

	status = "okay";
};

/* MIPI CSI3 data line2,3 clk lane2 */
&backsensor_aux {
	af_2v8-supply = <&ldo_3>;
	avdd_2v8-supply = <&ldo_2>;
	dovdd_1v8-supply = <&ldo_7>;
	dvdd_1v2-supply = <&ldo_6>;

	pwdn-gpios = <&gpio 124 0>;
	reset-gpios = <&gpio 97 0>;

	twsi-index = <0>;
	clocks = <&ccu CLK_CAMM0>;
	clock-names = "cam_mclk0";

	status = "disabled";
};

/* MIPI CSI3 data line0,1 clk lane3 */
&frontsensor {
	//af_2v8-supply = <&ldo_3>;
	//avdd_2v8-supply = <&ldo_2>;
	//dovdd_1v8-supply = <&ldo_7>;
	//dvdd_1v2-supply = <&ldo_6>;

	pwdn-gpios = <&gpio 114 0>;
	reset-gpios = <&gpio 97 0>;

	twsi-index = <1>;
	clocks = <&ccu CLK_CAMM1>;
	clock-names = "cam_mclk1";
	pinctrl-names = "default";
	pinctrl-0 = <&pinctrl_camera1>;

	status = "okay";
};
&csiphy0 {

	status = "okay";
};
&csiphy1 {

	status = "disabled";
};
&csiphy2 {
	status = "okay";
};

&ccic0 {
	power-domains = <&power K1X_PMU_ISP_PWR_DOMAIN>;

	status = "okay";
};
&ccic1 {
	power-domains = <&power K1X_PMU_ISP_PWR_DOMAIN>;

	status = "okay";
};
&ccic2 {
	power-domains = <&power K1X_PMU_ISP_PWR_DOMAIN>;

	status = "okay";
};
&isp {
	power-domains = <&power K1X_PMU_ISP_PWR_DOMAIN>;
};

&cpp {
	power-domains = <&power K1X_PMU_ISP_PWR_DOMAIN>;
};

&vi {
	power-domains = <&power K1X_PMU_ISP_PWR_DOMAIN>;
};

&rcpu {
	/* pinctrl-names = "default"; */
	/* pinctrl-0 = <&pinctrl_rcpu>; */
	mboxes = <&mailbox 0>, <&mailbox 1>;
	mbox-names = "vq0", "vq1";
	memory-region = <&rcpu_mem_0>, <&vdev0vring0>, <&vdev0vring1>, <&vdev0buffer>, <&rsc_table>, <&rcpu_mem_snapshots>;
	status = "okay";
};

&i2s0 {
	pinctrl-names = "default";
	pinctrl-0 = <&pinctrl_sspa0_0>;
	status = "okay";
};

&hdmiaudio {
	status = "okay";
};

&sound_hdmi {
	status = "okay";
	simple-audio-card,cpu {
		sound-dai = <&hdmiaudio>;
	};
};

&sound_codec {
	status = "okay";
	simple-audio-card,name = "snd-es8323";
	spacemit,mclk-fs = <256>;
	simple-audio-card,codec {
		sound-dai = <&es8323>;
	};
};

&watchdog {
	status = "okay";
};

&spi3 {
	status = "disabled";
	pinctrl-names = "default";
	pinctrl-0 = <&pinctrl_ssp3_0>;

	spi_dev0: spi@0 {
		compatible = "rohm,dh2228fv";
		reg = <0>;
		spi-max-frequency = <10000000>;
	};
};

&flexcan0 {
	pinctrl-names = "default";
	pinctrl-0 = <&pinctrl_can_0>;
	clock-frequency = <80000000>;
	status = "disabled";
};

&uart5 {
	pinctrl-names = "default";
	pinctrl-0 = <&pinctrl_uart5_4>;
	status = "disabled";
};

&uart8 {
	pinctrl-names = "default";
	pinctrl-0 = <&pinctrl_uart8_3>;
	status = "disabled";
};

&uart9 {
	pinctrl-names = "default";
	pinctrl-0 = <&pinctrl_uart9_2>;
	status = "disabled";
};

&rpwm9 {
	pinctrl-names = "default";
	pinctrl-0 = <&pinctrl_rpwm9_0>;
	status = "disabled";
};

&pwm7 {
	pinctrl-names = "default";
	pinctrl-0 = <&pinctrl_pwm7_0>;
	status = "disabled";
};
